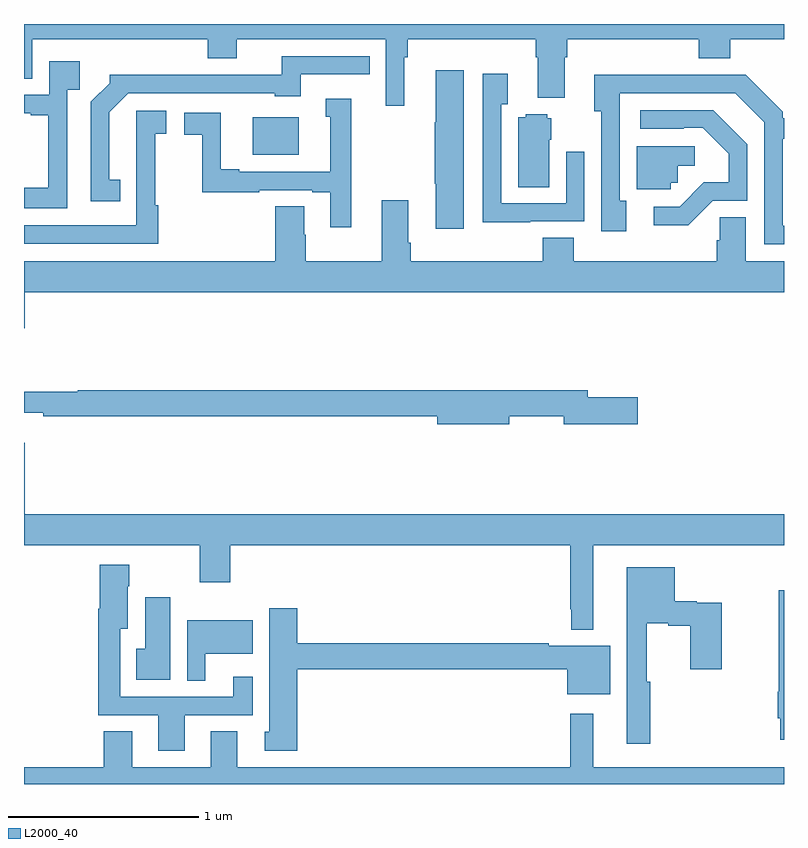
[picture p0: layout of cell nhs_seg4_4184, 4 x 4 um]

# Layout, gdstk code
import gdstk
lib = gdstk.Library(unit=1e-6, precision=1e-09)
def R(c, l, rs):  # rectangles x0, y0, x1, y1
    for r in rs: c.add(gdstk.rectangle(r[:2], r[2:], *l))
def P(c, l, *ps):  # polygons
    for p in ps: c.add(gdstk.Polygon(p, *l))
L2000_40 = (2000, 40)

nhs_seg4_4184 = lib.new_cell('nhs_seg4_4184')
R(nhs_seg4_4184, L2000_40, [(334.205,796.211,334.447,796.408)])
P(nhs_seg4_4184, L2000_40, [(335.002,796.724),(335.021,796.724),(335.021,796.82),(335.693,796.82),(335.693,796.724),(335.705,796.724),(335.705,796.511),(335.845,796.511),(335.845,796.724),(335.858,796.724),(335.858,796.82),(336.551,796.82),(336.551,796.721),(336.716,796.721),(336.716,796.82),(337,796.82),(337,796.9),(333,796.9),(333,796.612),(333.043,796.612),(333.043,796.82),(333.968,796.82),(333.968,796.721),(334.12,796.721),(334.12,796.82),(334.905,796.82),(334.905,796.47),(335.002,796.47)],
  [(333.506,796.079),(333.448,796.079),(333.448,796.435),(333.549,796.536),(334.32,796.536),(334.32,796.52),(334.456,796.52),(334.456,796.635),(334.82,796.635),(334.82,796.731),(334.357,796.731),(334.357,796.632),(333.884,796.632),(333.884,796.634),(333.45,796.634),(333.45,796.589),(333.351,796.49),(333.351,795.966),(333.506,795.966)],
  [(333.228,796.553),(333.293,796.553),(333.293,796.705),(333.132,796.705),(333.132,796.527),(333,796.527),(333,796.431),(333.035,796.431),(333.035,796.419),(333.127,796.419),(333.127,796.039),(333,796.039),(333,795.93),(333.228,795.93)],
  [(335.314,796.657),(335.168,796.657),(335.168,796.382),(335.161,796.382),(335.161,796.06),(335.168,796.06),(335.168,795.822),(335.314,795.822)],
  [(335.665,795.861),(335.949,795.861),(335.949,796.228),(335.853,796.228),(335.853,795.957),(335.511,795.957),(335.511,796.478),(335.545,796.478),(335.545,796.639),(335.415,796.639),(335.415,795.857),(335.665,795.857)],
  [(337,795.837),(336.994,795.837),(336.994,796.296),(337,796.296),(337,796.405),(336.993,796.405),(336.993,796.437),(336.798,796.632),(336.467,796.632),(336.467,796.634),(336.002,796.634),(336.002,796.442),(336.039,796.442),(336.039,795.81),(336.169,795.81),(336.169,795.97),(336.135,795.97),(336.135,796.536),(336.744,796.536),(336.897,796.383),(336.897,795.741),(337,795.741)],
  [(334.723,796.507),(334.589,796.507),(334.589,796.413),(334.613,796.413),(334.613,796.122),(334.132,796.122),(334.132,796.135),(334.036,796.135),(334.036,796.434),(333.843,796.434),(333.843,796.318),(333.937,796.318),(333.937,796.014),(334.238,796.014),(334.238,796.026),(334.517,796.026),(334.517,796.014),(334.613,796.014),(334.613,795.831),(334.723,795.831)],
  [(336.624,795.969),(336.807,795.969),(336.807,796.267),(336.628,796.446),(336.243,796.446),(336.243,796.35),(336.473,796.35),(336.473,796.353),(336.573,796.353),(336.71,796.216),(336.71,796.066),(336.577,796.066),(336.45,795.939),(336.315,795.939),(336.315,795.842),(336.496,795.842)],
  [(333.707,795.947),(333.69,795.947),(333.69,796.323),(333.748,796.323),(333.748,796.444),(333.59,796.444),(333.59,796.168),(333.591,796.168),(333.591,795.84),(333,795.84),(333,795.744),(333.707,795.744)],
  [(335.764,796.29),(335.776,796.29),(335.776,796.404),(335.754,796.404),(335.754,796.426),(335.64,796.426),(335.64,796.408),(335.6,796.408),(335.6,796.042),(335.764,796.042)],
  [(336.405,796.065),(336.441,796.065),(336.441,796.154),(336.529,796.154),(336.529,796.257),(336.224,796.257),(336.224,796.029),(336.405,796.029)],
  [(333.004,795.488),(337,795.488),(337,795.652),(336.799,795.652),(336.799,795.884),(336.661,795.884),(336.661,795.762),(336.647,795.762),(336.647,795.652),(335.894,795.652),(335.894,795.776),(335.729,795.776),(335.729,795.652),(335.036,795.652),(335.036,795.748),(335.023,795.748),(335.023,795.973),(334.883,795.973),(334.883,795.652),(334.482,795.652),(334.482,795.791),(334.474,795.791),(334.474,795.941),(334.322,795.941),(334.322,795.652),(333,795.652),(333,795.3),(333.004,795.3)],
  [(335.554,794.836),(335.84,794.836),(335.84,794.794),(336.229,794.794),(336.229,794.936),(335.968,794.936),(335.968,794.972),(333.284,794.972),(333.284,794.965),(333,794.965),(333,794.855),(333.1,794.855),(333.1,794.836),(335.174,794.836),(335.174,794.794),(335.554,794.794)],
  [(333.004,794.695),(333,794.695),(333,794.156),(333.925,794.156),(333.925,793.962),(334.085,793.962),(334.085,794.156),(335.874,794.156),(335.874,793.819),(335.88,793.819),(335.88,793.712),(335.995,793.712),(335.995,794.156),(337,794.156),(337,794.32),(333.004,794.32)],
  [(333.847,793.263),(334.204,793.263),(334.204,793.465),(334.1,793.465),(334.1,793.359),(333.507,793.359),(333.507,793.718),(333.547,793.718),(333.547,793.94),(333.555,793.94),(333.555,794.053),(333.398,794.053),(333.398,793.822),(333.391,793.822),(333.391,793.263),(333.707,793.263),(333.707,793.074),(333.847,793.074)],
  [(336.295,793.437),(336.277,793.437),(336.277,793.745),(336.392,793.745),(336.392,793.733),(336.506,793.733),(336.506,793.503),(336.672,793.503),(336.672,793.855),(336.54,793.855),(336.54,793.863),(336.424,793.863),(336.424,794.041),(336.173,794.041),(336.173,793.113),(336.295,793.113)],
  [(337,793.921),(336.973,793.921),(336.973,793.386),(336.968,793.386),(336.968,793.246),(336.98,793.246),(336.98,793.134),(337,793.134)],
  [(333.769,793.882),(333.638,793.882),(333.638,793.613),(333.592,793.613),(333.592,793.448),(333.769,793.448)],
  [(334.439,793.504),(335.858,793.504),(335.858,793.373),(336.085,793.373),(336.085,793.627),(335.762,793.627),(335.762,793.64),(334.439,793.64),(334.439,793.825),(334.292,793.825),(334.292,793.176),(334.268,793.176),(334.268,793.074),(334.439,793.074)],
  [(333.955,793.586),(334.204,793.586),(334.204,793.762),(333.858,793.762),(333.858,793.444),(333.955,793.444)],
  [(337,792.988),(335.995,792.988),(335.995,793.27),(335.874,793.27),(335.874,792.988),(334.123,792.988),(334.123,793.178),(333.983,793.178),(333.983,792.988),(333.571,792.988),(333.571,793.178),(333.419,793.178),(333.419,792.988),(333,792.988),(333,792.9),(337,792.9)])

lib.write_gds('nhs_seg4_4184.gds')
